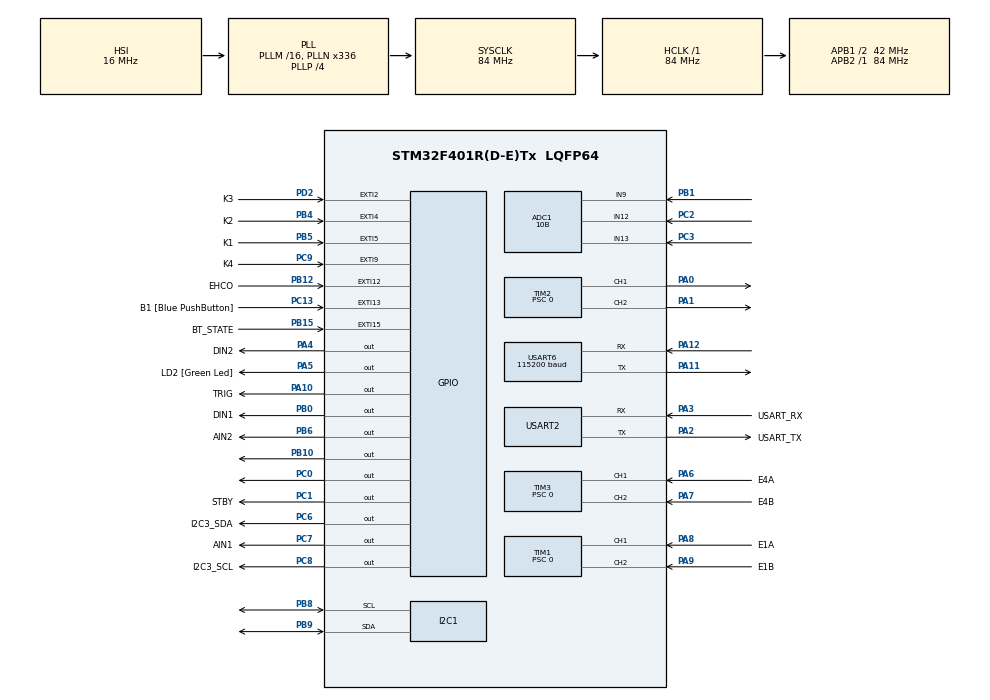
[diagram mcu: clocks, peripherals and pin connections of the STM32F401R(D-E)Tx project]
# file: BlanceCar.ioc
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ADC1.Channel-1\#ChannelRegularConversion=ADC_CHANNEL_9
ADC1.Channel-2\#ChannelRegularConversion=ADC_CHANNEL_12
ADC1.Channel-3\#ChannelRegularConversion=ADC_CHANNEL_13
ADC1.NbrOfConversion=3
ADC1.NbrOfConversionFlag=1
ADC1.Rank-1\#ChannelRegularConversion=1
ADC1.Rank-2\#ChannelRegularConversion=2
ADC1.Rank-3\#ChannelRegularConversion=3
ADC1.Resolution=ADC_RESOLUTION_10B
ADC1.SamplingTime-1\#ChannelRegularConversion=ADC_SAMPLETIME_15CYCLES
ADC1.SamplingTime-2\#ChannelRegularConversion=ADC_SAMPLETIME_15CYCLES
ADC1.SamplingTime-3\#ChannelRegularConversion=ADC_SAMPLETIME_15CYCLES
ADC1.ScanConvMode=ENABLE
ADC1.master=1
Dma.ADC1.6.Direction=DMA_PERIPH_TO_MEMORY
Dma.ADC1.6.FIFOMode=DMA_FIFOMODE_DISABLE
Dma.ADC1.6.Instance=DMA2_Stream0
Dma.ADC1.6.MemDataAlignment=DMA_MDATAALIGN_WORD
Dma.ADC1.6.MemInc=DMA_MINC_ENABLE
Dma.ADC1.6.Mode=DMA_NORMAL
Dma.ADC1.6.PeriphDataAlignment=DMA_PDATAALIGN_WORD
Dma.ADC1.6.PeriphInc=DMA_PINC_DISABLE
Dma.ADC1.6.Priority=DMA_PRIORITY_LOW
Dma.I2C1_RX.4.Direction=DMA_PERIPH_TO_MEMORY
Dma.I2C1_RX.4.FIFOMode=DMA_FIFOMODE_DISABLE
Dma.I2C1_RX.4.Instance=DMA1_Stream0
Dma.I2C1_RX.4.MemDataAlignment=DMA_MDATAALIGN_BYTE
Dma.I2C1_RX.4.MemInc=DMA_MINC_ENABLE
Dma.I2C1_RX.4.Mode=DMA_CIRCULAR
Dma.I2C1_RX.4.PeriphDataAlignment=DMA_PDATAALIGN_BYTE
Dma.I2C1_RX.4.PeriphInc=DMA_PINC_DISABLE
Dma.I2C1_RX.4.Priority=DMA_PRIORITY_LOW
Dma.I2C1_TX.5.Direction=DMA_MEMORY_TO_PERIPH
Dma.I2C1_TX.5.FIFOMode=DMA_FIFOMODE_DISABLE
Dma.I2C1_TX.5.Instance=DMA1_Stream7
Dma.I2C1_TX.5.MemDataAlignment=DMA_MDATAALIGN_BYTE
Dma.I2C1_TX.5.MemInc=DMA_MINC_ENABLE
Dma.I2C1_TX.5.Mode=DMA_CIRCULAR
Dma.I2C1_TX.5.PeriphDataAlignment=DMA_PDATAALIGN_BYTE
Dma.I2C1_TX.5.PeriphInc=DMA_PINC_DISABLE
Dma.I2C1_TX.5.Priority=DMA_PRIORITY_LOW
Dma.Request0=USART6_RX
Dma.Request1=USART6_TX
Dma.Request2=USART2_TX
Dma.Request3=USART2_RX
Dma.Request4=I2C1_RX
Dma.Request5=I2C1_TX
Dma.Request6=ADC1
Dma.USART2_RX.3.Direction=DMA_PERIPH_TO_MEMORY
Dma.USART2_RX.3.FIFOMode=DMA_FIFOMODE_DISABLE
Dma.USART2_RX.3.Instance=DMA1_Stream5
Dma.USART2_RX.3.MemDataAlignment=DMA_MDATAALIGN_BYTE
Dma.USART2_RX.3.MemInc=DMA_MINC_ENABLE
Dma.USART2_RX.3.Mode=DMA_CIRCULAR
Dma.USART2_RX.3.PeriphDataAlignment=DMA_PDATAALIGN_BYTE
Dma.USART2_RX.3.PeriphInc=DMA_PINC_DISABLE
Dma.USART2_RX.3.Priority=DMA_PRIORITY_LOW
Dma.USART2_TX.2.Direction=DMA_MEMORY_TO_PERIPH
Dma.USART2_TX.2.FIFOMode=DMA_FIFOMODE_DISABLE
Dma.USART2_TX.2.Instance=DMA1_Stream6
Dma.USART2_TX.2.MemDataAlignment=DMA_MDATAALIGN_BYTE
Dma.USART2_TX.2.MemInc=DMA_MINC_ENABLE
Dma.USART2_TX.2.Mode=DMA_CIRCULAR
Dma.USART2_TX.2.PeriphDataAlignment=DMA_PDATAALIGN_BYTE
Dma.USART2_TX.2.PeriphInc=DMA_PINC_DISABLE
Dma.USART2_TX.2.Priority=DMA_PRIORITY_LOW
Dma.USART6_RX.0.Direction=DMA_PERIPH_TO_MEMORY
Dma.USART6_RX.0.FIFOMode=DMA_FIFOMODE_DISABLE
Dma.USART6_RX.0.Instance=DMA2_Stream1
Dma.USART6_RX.0.MemDataAlignment=DMA_MDATAALIGN_BYTE
Dma.USART6_RX.0.MemInc=DMA_MINC_ENABLE
Dma.USART6_RX.0.Mode=DMA_CIRCULAR
Dma.USART6_RX.0.PeriphDataAlignment=DMA_PDATAALIGN_BYTE
Dma.USART6_RX.0.PeriphInc=DMA_PINC_DISABLE
Dma.USART6_RX.0.Priority=DMA_PRIORITY_LOW
Dma.USART6_TX.1.Direction=DMA_MEMORY_TO_PERIPH
Dma.USART6_TX.1.FIFOMode=DMA_FIFOMODE_DISABLE
Dma.USART6_TX.1.Instance=DMA2_Stream6
Dma.USART6_TX.1.MemDataAlignment=DMA_MDATAALIGN_BYTE
Dma.USART6_TX.1.MemInc=DMA_MINC_ENABLE
Dma.USART6_TX.1.Mode=DMA_CIRCULAR
Dma.USART6_TX.1.PeriphDataAlignment=DMA_PDATAALIGN_BYTE
Dma.USART6_TX.1.PeriphInc=DMA_PINC_DISABLE
Dma.USART6_TX.1.Priority=DMA_PRIORITY_LOW
FREERTOS.Tasks01=defaultTask,0,128,StartDefaultTask,Default,NULL,Dynamic,NULL,NULL
I2C1.I2C_Mode=I2C_Standard
Mcu.Family=STM32F4
Mcu.Name=STM32F401R(D-E)Tx
Mcu.Package=LQFP64
NVIC.DMA1_Stream0_IRQn=true\:5\:0\:false\:false\:true\:true\:false\:true\:true
NVIC.DMA1_Stream5_IRQn=true\:5\:0\:false\:false\:true\:true\:false\:true\:true
NVIC.DMA1_Stream6_IRQn=true\:5\:0\:false\:false\:true\:true\:false\:true\:true
NVIC.DMA1_Stream7_IRQn=true\:5\:0\:false\:false\:true\:true\:false\:true\:true
NVIC.DMA2_Stream0_IRQn=true\:5\:0\:false\:false\:true\:true\:false\:true\:true
NVIC.DMA2_Stream1_IRQn=true\:5\:0\:false\:false\:true\:true\:false\:true\:true
NVIC.DMA2_Stream6_IRQn=true\:5\:0\:false\:false\:true\:true\:false\:true\:true
NVIC.EXTI15_10_IRQn=true\:5\:0\:false\:false\:true\:true\:true\:true\:true
NVIC.EXTI2_IRQn=true\:5\:0\:false\:false\:true\:true\:true\:true\:true
NVIC.EXTI4_IRQn=true\:5\:0\:false\:false\:true\:true\:true\:true\:true
NVIC.EXTI9_5_IRQn=true\:5\:0\:false\:false\:true\:true\:true\:true\:true
NVIC.I2C1_EV_IRQn=true\:5\:0\:false\:false\:true\:true\:true\:true\:true
NVIC.PriorityGroup=NVIC_PRIORITYGROUP_4
NVIC.TIM1_BRK_TIM9_IRQn=true\:5\:0\:false\:false\:true\:true\:true\:true\:true
NVIC.TIM1_TRG_COM_TIM11_IRQn=true\:5\:0\:false\:false\:true\:true\:true\:true\:true
NVIC.TIM1_UP_TIM10_IRQn=true\:5\:0\:false\:false\:true\:true\:true\:true\:true
NVIC.TIM2_IRQn=true\:5\:0\:false\:false\:true\:true\:true\:true\:true
NVIC.TIM3_IRQn=true\:5\:0\:false\:false\:true\:true\:true\:true\:true
NVIC.TIM5_IRQn=true\:15\:0\:false\:false\:true\:false\:false\:true\:true
NVIC.TimeBase=TIM5_IRQn
NVIC.TimeBaseIP=TIM5
NVIC.USART2_IRQn=true\:5\:0\:false\:false\:false\:true\:true\:true\:true
NVIC.USART6_IRQn=true\:5\:0\:false\:false\:false\:true\:true\:true\:true
PA0-WKUP.Signal=S_TIM2_CH1_ETR
PA1.Signal=S_TIM2_CH2
PA10.GPIO_Label=TRIG
PA10.Signal=GPIO_Output
PA11.Mode=Asynchronous
PA11.Signal=USART6_TX
PA12.Mode=Asynchronous
PA12.Signal=USART6_RX
PA13.GPIO_Label=TMS
PA13.Mode=Trace_Asynchronous_SW
PA13.Signal=SYS_JTMS-SWDIO
PA14.GPIO_Label=TCK
PA14.Mode=Trace_Asynchronous_SW
PA14.Signal=SYS_JTCK-SWCLK
PA2.GPIO_Label=USART_TX
PA2.GPIO_Mode=GPIO_MODE_AF_PP
PA2.GPIO_PuPd=GPIO_NOPULL
PA2.GPIO_Speed=GPIO_SPEED_FREQ_LOW
PA2.Mode=Asynchronous
PA2.Signal=USART2_TX
PA3.GPIO_Label=USART_RX
PA3.GPIO_Mode=GPIO_MODE_AF_PP
PA3.GPIO_PuPd=GPIO_NOPULL
PA3.GPIO_Speed=GPIO_SPEED_FREQ_LOW
PA3.Mode=Asynchronous
PA3.Signal=USART2_RX
PA4.GPIO_Label=DIN2
PA4.Signal=GPIO_Output
PA5.GPIO_Label=LD2 [Green Led]
PA5.GPIO_Mode=GPIO_MODE_OUTPUT_PP
PA5.GPIO_PuPd=GPIO_NOPULL
PA5.GPIO_Speed=GPIO_SPEED_FREQ_LOW
PA5.Signal=GPIO_Output
PA6.GPIO_Label=E4A
PA6.Signal=S_TIM3_CH1
PA7.GPIO_Label=E4B
PA7.Signal=S_TIM3_CH2
PA8.GPIO_Label=E1A
PA8.Signal=S_TIM1_CH1
PA9.GPIO_Label=E1B
PA9.Signal=S_TIM1_CH2
PB0.GPIO_Label=DIN1
PB0.Signal=GPIO_Output
PB1.Signal=ADCx_IN9
PB10.Signal=GPIO_Output
PB12.GPIO_Label=EHCO
PB12.GPIO_ModeDefaultEXTI=GPIO_MODE_IT_RISING_FALLING
PB12.Signal=GPXTI12
PB15.GPIO_Label=BT_STATE
PB15.GPIO_ModeDefaultEXTI=GPIO_MODE_IT_RISING_FALLING
PB15.Signal=GPXTI15
PB3.GPIO_Label=SWO
PB3.Mode=Trace_Asynchronous_SW
PB3.Signal=SYS_JTDO-SWO
PB4.GPIO_Label=K2
PB4.GPIO_ModeDefaultEXTI=GPIO_MODE_IT_RISING_FALLING
PB4.Signal=GPXTI4
PB5.GPIO_Label=K1
PB5.GPIO_ModeDefaultEXTI=GPIO_MODE_IT_RISING_FALLING
PB5.Signal=GPXTI5
PB6.GPIO_Label=AIN2
PB6.Signal=GPIO_Output
PB8.Mode=I2C
PB8.Signal=I2C1_SCL
PB9.Mode=I2C
PB9.Signal=I2C1_SDA
PC0.Signal=GPIO_Output
PC1.GPIO_Label=STBY
PC1.Signal=GPIO_Output
PC13-ANTI_TAMP.GPIO_Label=B1 [Blue PushButton]
PC13-ANTI_TAMP.GPIO_ModeDefaultEXTI=GPIO_MODE_IT_FALLING
PC13-ANTI_TAMP.GPIO_PuPd=GPIO_NOPULL
PC13-ANTI_TAMP.Signal=GPXTI13
PC14-OSC32_IN.Mode=LSE-External-Oscillator
PC14-OSC32_IN.Signal=RCC_OSC32_IN
PC15-OSC32_OUT.Mode=LSE-External-Oscillator
PC15-OSC32_OUT.Signal=RCC_OSC32_OUT
PC2.Signal=ADCx_IN12
PC3.Signal=ADCx_IN13
PC6.GPIO_Label=I2C3_SDA
PC6.GPIO_ModeDefaultOutputPP=GPIO_MODE_OUTPUT_OD
PC6.GPIO_PuPd=GPIO_PULLUP
PC6.GPIO_Speed=GPIO_SPEED_FREQ_LOW
PC6.Signal=GPIO_Output
PC7.GPIO_Label=AIN1
PC7.Signal=GPIO_Output
PC8.GPIO_Label=I2C3_SCL
PC8.GPIO_ModeDefaultOutputPP=GPIO_MODE_OUTPUT_OD
PC8.GPIO_PuPd=GPIO_PULLUP
PC8.GPIO_Speed=GPIO_SPEED_FREQ_LOW
PC8.Signal=GPIO_Output
PC9.GPIO_Label=K4
PC9.GPIO_ModeDefaultEXTI=GPIO_MODE_IT_RISING_FALLING
PC9.Signal=GPXTI9
PD2.GPIO_Label=K3
PD2.GPIO_ModeDefaultEXTI=GPIO_MODE_IT_RISING_FALLING
PD2.Signal=GPXTI2
PH0\ -\ OSC_IN.Mode=HSE-External-Clock-Source
PH0\ -\ OSC_IN.Signal=RCC_OSC_IN
PH1\ -\ OSC_OUT.Mode=HSE-External-Clock-Source
PH1\ -\ OSC_OUT.Signal=RCC_OSC_OUT
ProjectManager.HeapSize=0x200
ProjectManager.StackSize=0x400
ProjectManager.TargetToolchain=MDK-ARM V5.32
RCC.48MHZClocksFreq_Value=48000000
RCC.AHBFreq_Value=84000000
RCC.APB1CLKDivider=RCC_HCLK_DIV2
RCC.APB1Freq_Value=42000000
RCC.APB1TimFreq_Value=84000000
RCC.APB2Freq_Value=84000000
RCC.APB2TimFreq_Value=84000000
RCC.CortexFreq_Value=84000000
RCC.HCLKFreq_Value=84000000
RCC.HSE_VALUE=8000000
RCC.HSI_VALUE=16000000
RCC.PLLN=336
RCC.PLLP=RCC_PLLP_DIV4
RCC.PLLQ=7
RCC.RCC_RTC_Clock_Source=RCC_RTCCLKSOURCE_LSI
RCC.RCC_RTC_Clock_SourceVirtual=RCC_RTCCLKSOURCE_LSI
RCC.SYSCLKFreq_VALUE=84000000
RCC.SYSCLKSource=RCC_SYSCLKSOURCE_PLLCLK
RCC.VCOOutputFreq_Value=336000000
SH.ADCx_IN12.0=ADC1_IN12,IN12
SH.ADCx_IN13.0=ADC1_IN13,IN13
SH.ADCx_IN9.0=ADC1_IN9,IN9
SH.S_TIM1_CH1.0=TIM1_CH1,Encoder_Interface
SH.S_TIM1_CH2.0=TIM1_CH2,Encoder_Interface
SH.S_TIM2_CH1_ETR.0=TIM2_CH1,PWM Generation1 CH1
SH.S_TIM2_CH2.0=TIM2_CH2,PWM Generation2 CH2
SH.S_TIM3_CH1.0=TIM3_CH1,Encoder_Interface
SH.S_TIM3_CH2.0=TIM3_CH2,Encoder_Interface
TIM1.EncoderMode=TIM_ENCODERMODE_TI12
TIM1.IC1Prescaler=TIM_ICPSC_DIV8
TIM1.IC2Prescaler=TIM_ICPSC_DIV8
TIM1.Period=65535
TIM1.Prescaler=0
TIM10.Prescaler=84-1
TIM11.AutoReloadPreload=TIM_AUTORELOAD_PRELOAD_ENABLE
TIM11.Period=25000-1
TIM11.Prescaler=8400-1
TIM2.Channel-PWM\ Generation1\ CH1=TIM_CHANNEL_1
TIM2.Channel-PWM\ Generation2\ CH2=TIM_CHANNEL_2
TIM2.Period=33000-1
TIM2.Prescaler=0
TIM3.EncoderMode=TIM_ENCODERMODE_TI12
TIM3.IC1Prescaler=TIM_ICPSC_DIV8
TIM3.IC2Polarity=TIM_ICPOLARITY_RISING
TIM3.IC2Prescaler=TIM_ICPSC_DIV8
TIM3.Period=65535
TIM3.Prescaler=0
TIM9.AutoReloadPreload=TIM_AUTORELOAD_PRELOAD_DISABLE
TIM9.Period=10000-1
TIM9.Prescaler=84-1
USART2.VirtualMode=VM_ASYNC
USART6.BaudRate=115200
USART6.VirtualMode=VM_ASYNC
VP_FREERTOS_VS_CMSIS_V1.Mode=CMSIS_V1
VP_SYS_VS_tim5.Mode=TIM5
VP_TIM10_VS_ClockSourceINT.Mode=Enable_Timer
VP_TIM11_VS_ClockSourceINT.Mode=Enable_Timer
VP_TIM2_VS_ClockSourceINT.Mode=Internal
VP_TIM9_VS_ClockSourceINT.Mode=Internal
board=NUCLEO-F401RE

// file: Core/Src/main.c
/* USER CODE BEGIN Header */
/**
  ******************************************************************************
  * @file           : main.c
  * @brief          : Main program body
  ******************************************************************************
  * @attention
  *
  * Copyright (c) 2025 STMicroelectronics.
  * All rights reserved.
  *
  * This software is licensed under terms that can be found in the LICENSE file
  * in the root directory of this software component.
  * If no LICENSE file comes with this software, it is provided AS-IS.
  *
  ******************************************************************************
  */
/* USER CODE END Header */
#include "main.h"
#include "cmsis_os.h"
#include "adc.h"
#include "dma.h"
#include "i2c.h"
#include "tim.h"
#include "usart.h"
#include "gpio.h"

/* USER CODE BEGIN Includes */
#include "motor.h"
#include "encoder.h"
#include "ssd1306.h"
#include "ssd1306_conf.h"
#include "ssd1306_fonts.h"
#include <string.h>
#include <stdio.h>
#include "delay.h"
#include "MPU6500.h"
#include "imu.h"
#include "car.h"
#include "communication.h"
#include "OLED.h"
#include "potentiometers.h"
/* USER CODE END Includes */

/* USER CODE BEGIN PD */

extern Car car;
extern uint8_t rx_data_buffer2[BUF_SIZE];
extern uint8_t rx_data_buffer6[BUF_SIZE];
/* USER CODE END PD */

void SystemClock_Config(void);
void MX_FREERTOS_Init(void);

int main(void)
{

  /* MCU Configuration--------------------------------------------------------*/

  /* Reset of all peripherals, Initializes the Flash interface and the Systick. */
  HAL_Init();

  /* Configure the system clock */
  SystemClock_Config();

  /* Initialize all configured peripherals */
  MX_GPIO_Init();
  MX_DMA_Init();
  MX_USART2_UART_Init();
  MX_I2C1_Init();
  MX_USART6_UART_Init();
  MX_TIM3_Init();
  MX_TIM2_Init();
  MX_TIM1_Init();
  MX_TIM9_Init();
  MX_TIM10_Init();
  MX_TIM11_Init();
  MX_ADC1_Init();
  /* USER CODE BEGIN 2 */
  delay_init();

  OLED_Init();

//  ADC_init();
  car = newCar();
  HAL_TIM_Base_Start_IT(&htim9);
  HAL_TIM_Base_Start_IT(&htim10);

  __HAL_UART_ENABLE_IT(&huart2, UART_IT_IDLE);
  __HAL_UART_ENABLE_IT(&huart6, UART_IT_IDLE);
  HAL_UART_Receive_DMA(&huart2, rx_data_buffer2, BUF_SIZE);
  HAL_UART_Receive_DMA(&huart6, rx_data_buffer6, BUF_SIZE);

  /* USER CODE END 2 */

  /* Call init function for freertos objects (in cmsis_os2.c) */
  MX_FREERTOS_Init();

  /* Start scheduler */
  osKernelStart();

  /* We should never get here as control is now taken by the scheduler */

  /* Infinite loop */
  while (1)
  {

	}
}

void SystemClock_Config(void)
{
  RCC_OscInitTypeDef RCC_OscInitStruct = {0};
  RCC_ClkInitTypeDef RCC_ClkInitStruct = {0};

  /** Configure the main internal regulator output voltage
  */
  __HAL_RCC_PWR_CLK_ENABLE();
  __HAL_PWR_VOLTAGESCALING_CONFIG(PWR_REGULATOR_VOLTAGE_SCALE2);

  /** Initializes the RCC Oscillators according to the specified parameters
  * in the RCC_OscInitTypeDef structure.
  */
  RCC_OscInitStruct.OscillatorType = RCC_OSCILLATORTYPE_HSI;
  RCC_OscInitStruct.HSIState = RCC_HSI_ON;
  RCC_OscInitStruct.HSICalibrationValue = RCC_HSICALIBRATION_DEFAULT;
  RCC_OscInitStruct.PLL.PLLState = RCC_PLL_ON;
  RCC_OscInitStruct.PLL.PLLSource = RCC_PLLSOURCE_HSI;
  RCC_OscInitStruct.PLL.PLLM = 16;
  RCC_OscInitStruct.PLL.PLLN = 336;
  RCC_OscInitStruct.PLL.PLLP = RCC_PLLP_DIV4;
  RCC_OscInitStruct.PLL.PLLQ = 7;
  if (HAL_RCC_OscConfig(&RCC_OscInitStruct) != HAL_OK)
  {
    Error_Handler();
  }

  /** Initializes the CPU, AHB and APB buses clocks
  */
  RCC_ClkInitStruct.ClockType = RCC_CLOCKTYPE_HCLK|RCC_CLOCKTYPE_SYSCLK
                              |RCC_CLOCKTYPE_PCLK1|RCC_CLOCKTYPE_PCLK2;
  RCC_ClkInitStruct.SYSCLKSource = RCC_SYSCLKSOURCE_PLLCLK;
  RCC_ClkInitStruct.AHBCLKDivider = RCC_SYSCLK_DIV1;
  RCC_ClkInitStruct.APB1CLKDivider = RCC_HCLK_DIV2;
  RCC_ClkInitStruct.APB2CLKDivider = RCC_HCLK_DIV1;

  if (HAL_RCC_ClockConfig(&RCC_ClkInitStruct, FLASH_LATENCY_2) != HAL_OK)
  {
    Error_Handler();
  }
}

void HAL_TIM_PeriodElapsedCallback(TIM_HandleTypeDef *htim)
{
  if (htim->Instance == TIM5)
  {
    HAL_IncTick();
  }
  /* USER CODE BEGIN Callback 1 */

	else if (htim == &htim9) //计算转速10ms
  {
    car.encoder_l.GetCount(&car.encoder_l);
    car.encoder_r.GetCount(&car.encoder_r);
  }
   else if (htim == &htim11){
	car.cmd = CMD_STOP;
	car.isBarrier = 0;
	HAL_TIM_Base_Stop_IT(&htim11);
  }
  /* USER CODE END Callback 1 */
}

void Error_Handler(void)
{
  __disable_irq();
  while (1)
  {
  }
}

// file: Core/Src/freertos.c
/* USER CODE BEGIN Header */
/**
  ******************************************************************************
  * File Name          : freertos.c
  * Description        : Code for freertos applications
  ******************************************************************************
  * @attention
  *
  * Copyright (c) 2025 STMicroelectronics.
  * All rights reserved.
  *
  * This software is licensed under terms that can be found in the LICENSE file
  * in the root directory of this software component.
  * If no LICENSE file comes with this software, it is provided AS-IS.
  *
  ******************************************************************************
  */
/* USER CODE END Header */

#include "FreeRTOS.h"
#include "task.h"
#include "main.h"
#include "cmsis_os.h"

/* USER CODE BEGIN Includes */
#include "carTask.h"
#include "oledTask.h"
#include "multiTask.h"
/* USER CODE END Includes */

/* USER CODE BEGIN Variables */
osThreadId carTaskHandle;
osThreadId oledTaskHandle;
osThreadId multiTaskHandle;
/* USER CODE END Variables */
osThreadId defaultTaskHandle;

void StartDefaultTask(void const * argument);

void MX_FREERTOS_Init(void); /* (MISRA C 2004 rule 8.1) */

/* GetIdleTaskMemory prototype (linked to static allocation support) */
void vApplicationGetIdleTaskMemory( StaticTask_t **ppxIdleTaskTCBBuffer, StackType_t **ppxIdleTaskStackBuffer, uint32_t *pulIdleTaskStackSize );

/* USER CODE BEGIN GET_IDLE_TASK_MEMORY */
static StaticTask_t xIdleTaskTCBBuffer;
static StackType_t xIdleStack[configMINIMAL_STACK_SIZE];

void vApplicationGetIdleTaskMemory( StaticTask_t **ppxIdleTaskTCBBuffer, StackType_t **ppxIdleTaskStackBuffer, uint32_t *pulIdleTaskStackSize )
{
  *ppxIdleTaskTCBBuffer = &xIdleTaskTCBBuffer;
  *ppxIdleTaskStackBuffer = &xIdleStack[0];
  *pulIdleTaskStackSize = configMINIMAL_STACK_SIZE;
  /* place for user code */
}
/* USER CODE END GET_IDLE_TASK_MEMORY */

void MX_FREERTOS_Init(void) {

  /* Create the thread(s) */
  /* definition and creation of defaultTask */
  osThreadDef(defaultTask, StartDefaultTask, osPriorityNormal, 0, 128);
  defaultTaskHandle = osThreadCreate(osThread(defaultTask), NULL);

  /* USER CODE BEGIN RTOS_THREADS */
  /* add threads, ... */
	osThreadDef(carTask, StartCarTask, osPriorityRealtime, 0, 256);
	carTaskHandle = osThreadCreate(osThread(carTask), NULL);

	osThreadDef(oledTask, StartOledTask, osPriorityNormal, 0, 256);
	oledTaskHandle = osThreadCreate(osThread(oledTask), NULL);

	osThreadDef(multiTask, StartMultiTask, osPriorityNormal, 0, 256);
	multiTaskHandle = osThreadCreate(osThread(multiTask), NULL);

  /* USER CODE END RTOS_THREADS */

}

void StartDefaultTask(void const * argument)
{
  for(;;)
  {
    osDelay(1);
  }
}
